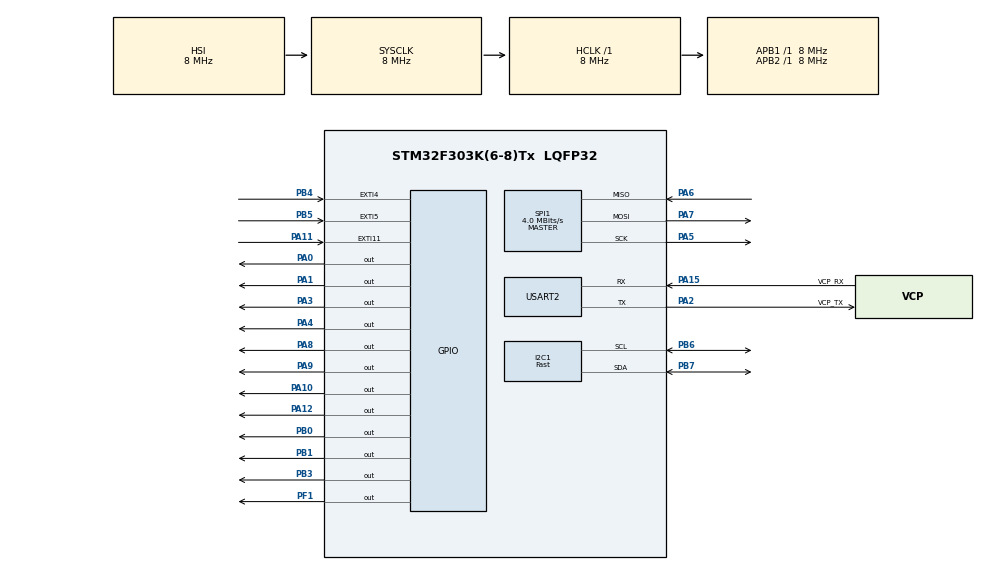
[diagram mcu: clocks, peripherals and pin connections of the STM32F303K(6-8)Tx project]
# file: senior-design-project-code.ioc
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FATFS._USE_LFN=2
I2C1.I2C_Speed_Mode=I2C_Fast
I2C1.Speed=400
I2C1.Timing=0x0000020B
Mcu.Family=STM32F3
Mcu.Name=STM32F303K(6-8)Tx
Mcu.Package=LQFP32
NVIC.EXTI15_10_IRQn=true\:15\:0\:true\:false\:true\:true\:true\:true
NVIC.EXTI4_IRQn=true\:13\:0\:true\:false\:true\:true\:true\:true
NVIC.EXTI9_5_IRQn=true\:14\:0\:true\:false\:true\:true\:true\:true
NVIC.PriorityGroup=NVIC_PRIORITYGROUP_4
PA0.Signal=GPIO_Output
PA1.Signal=GPIO_Output
PA10.Signal=GPIO_Output
PA11.GPIO_ModeDefaultEXTI=GPIO_MODE_IT_FALLING
PA11.Signal=GPXTI11
PA12.Signal=GPIO_Output
PA13.GPIO_Label=SWDIO
PA13.Mode=Serial_Wire
PA13.Signal=SYS_JTMS-SWDIO
PA14.GPIO_Label=SWCLK
PA14.Mode=Serial_Wire
PA14.Signal=SYS_JTCK-SWCLK
PA15.GPIO_Label=VCP_RX
PA15.Mode=Asynchronous
PA15.Signal=USART2_RX
PA2.GPIO_Label=VCP_TX
PA2.Mode=Asynchronous
PA2.Signal=USART2_TX
PA3.Signal=GPIO_Output
PA4.Signal=GPIO_Output
PA5.Mode=Full_Duplex_Master
PA5.Signal=SPI1_SCK
PA6.Mode=Full_Duplex_Master
PA6.Signal=SPI1_MISO
PA7.Mode=Full_Duplex_Master
PA7.Signal=SPI1_MOSI
PA8.Signal=GPIO_Output
PA9.Signal=GPIO_Output
PB0.Signal=GPIO_Output
PB1.Signal=GPIO_Output
PB3.Signal=GPIO_Output
PB4.GPIO_ModeDefaultEXTI=GPIO_MODE_IT_FALLING
PB4.Signal=GPXTI4
PB5.GPIO_ModeDefaultEXTI=GPIO_MODE_IT_FALLING
PB5.Signal=GPXTI5
PB6.GPIO_Pu=GPIO_NOPULL
PB6.Mode=I2C
PB6.Signal=I2C1_SCL
PB7.Mode=I2C
PB7.Signal=I2C1_SDA
PF0\ /\ OSC_IN.GPIO_Label=MCO
PF0\ /\ OSC_IN.Mode=HSE-External-Clock-Source
PF0\ /\ OSC_IN.Signal=RCC_OSC_IN
PF1\ /\ OSC_OUT.Signal=GPIO_Output
ProjectManager.HeapSize=0x200
ProjectManager.StackSize=0x400
ProjectManager.TargetToolchain=STM32CubeIDE
RCC.AHBFreq_Value=8000000
RCC.APB1Freq_Value=8000000
RCC.APB2Freq_Value=8000000
RCC.CortexFreq_Value=8000000
RCC.HSE_VALUE=8000000
RCC.HSI_VALUE=8000000
RCC.SYSCLKFreq_VALUE=8000000
SPI1.BaudRatePrescaler=SPI_BAUDRATEPRESCALER_2
SPI1.CLKPhase=SPI_PHASE_1EDGE
SPI1.CalculateBaudRate=4.0 MBits/s
SPI1.DataSize=SPI_DATASIZE_8BIT
SPI1.Direction=SPI_DIRECTION_2LINES
SPI1.Mode=SPI_MODE_MASTER
SPI1.NSSPMode=SPI_NSS_PULSE_DISABLE
SPI1.VirtualType=VM_MASTER
USART2.VirtualMode-Asynchronous=VM_ASYNC
VP_FATFS_VS_Generic.Mode=User_defined
board=NUCLEO-F303K8

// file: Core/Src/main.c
/* USER CODE BEGIN Header */
/**
 ******************************************************************************
 * @file           : main.c
 * @brief          : Main program body
 ******************************************************************************
 * @attention
 *
 * <h2><center>&copy; Copyright (c) 2021 STMicroelectronics.
 * All rights reserved.</center></h2>
 *
 * This software component is licensed by ST under BSD 3-Clause license,
 * the "License"; You may not use this file except in compliance with the
 * License. You may obtain a copy of the License at:
 *                        opensource.org/licenses/BSD-3-Clause
 *
 ******************************************************************************
 */
/* USER CODE END Header */
#include "main.h"
#include "fatfs.h"
#include "i2c.h"
#include "spi.h"
#include "usart.h"
#include "gpio.h"

/* USER CODE BEGIN Includes */
#include <stdio.h>
#include <string.h>

#include "sparkfun_as7265x.h"
#include "user_lcd.h"
/* USER CODE END Includes */

/* USER CODE BEGIN PD */
#ifndef SENSOR_DATA_LENGTH
#define SENSOR_DATA_LENGTH 18
#endif

#ifndef FOLDER_NAME
#define FOLDER_NAME "capstone-project"
#endif
/* USER CODE END PD */

/* USER CODE BEGIN PV */
volatile uint16_t flags = 0;

const uint8_t sensor_grid[6] = {
		AS7265X_R_G_A_CAL,
		AS7265X_S_H_B_CAL,
		AS7265X_T_I_C_CAL,
		AS7265X_U_J_D_CAL,
		AS7265X_V_K_E_CAL,
		AS7265X_W_L_F_CAL};

const uint8_t spectra[3] = {
		AS72653_UV,
		AS72652_VISIBLE,
		AS72651_NIR};

const uint8_t bulb[3] = {
		AS7265x_LED_UV,
		AS7265x_LED_WHITE,
		AS7265x_LED_IR};
/* USER CODE END PV */

void SystemClock_Config(void);
/* USER CODE BEGIN PFP */
/* Gather data from sensor array and store it into buffer */
void get_data_bins(float *float_array, I2C_HandleTypeDef *hi2c);

/* Normalize a set of data */
void normalize_data(float *data, float *normal_data, float normal_max,
		float normal_min);

/* Write data to SD card */
void store_data(float *data, const char *filename);

/* Append data to file */
FRESULT open_append(FIL* fp, const char* path);

/* Write data into a format for displaying on the LCD */
void set_display_data(float *data, uint8_t *display_data);

/* USER CODE END PFP */

int main(void)
{
	/* USER CODE BEGIN 1 */
	uint8_t i;
	uint8_t j;

	HAL_StatusTypeDef hal_status;

	uint8_t display_data[8] = {0};

	float sample_data[SENSOR_DATA_LENGTH] = {0};
	float calibration_data[SENSOR_DATA_LENGTH] = {0};
	float normal_data[SENSOR_DATA_LENGTH] = {0};
	/* USER CODE END 1 */

	/* MCU Configuration--------------------------------------------------------*/

	/* Reset of all peripherals, Initializes the Flash interface and the Systick. */
	HAL_Init();

	/* USER CODE BEGIN Init */
	HAL_Delay(690); // give the peripherals time to power on

	/* USER CODE END Init */

	/* Configure the system clock */
	SystemClock_Config();

	/* Initialize all configured peripherals */
	MX_GPIO_Init();
	MX_SPI1_Init();
	MX_I2C1_Init();
	MX_USART2_UART_Init();
	MX_FATFS_Init();
	/* USER CODE BEGIN 2 */
	begin(&hi2c1, &huart2);
	lcd_init();

	/* Setting custom characters for readout */
	for ( i = 0; i < 8; i++) {
		lcd_set_cgram_address((7 - i));
		for (j = 0; j < i; j++)
			lcd_write_data(0x00);
		for(j = i; j < CHAR_HEIGHT; j++)
			lcd_write_data(0xff);
	}
	lcd_set_ddram_address(0);

	/* USER CODE END 2 */

	/* Infinite loop */
	/* USER CODE BEGIN WHILE */
	while (1)
	{
		flags = 0;

		HAL_Delay(1); // Needed to prevent compiler from assuming flags defaults to 0

		switch(flags) {
		case (GPIO_PIN_4): { // Get sample data and normalize it
			uart_printf(&huart2, "Getting sample data...\r\n");

			/* Gather sample data */
			get_data_bins(sample_data, &hi2c1);

			/* Normalize the data */
			normalize_data(sample_data, normal_data, 1, 0);

			HAL_Delay(10);

			/* Print out each calibrated sample value to UART */
			for (i = 0; i < SENSOR_DATA_LENGTH; i++) {
				hal_status = uart_printf(&huart2, "%d nm: %0.3f\r\n", 410 + 25 * i,
						sample_data[i]);

				HAL_Delay(10);

				if (hal_status != HAL_OK)
					break;
			};

			for (i = 0; i < 8; i++) {
				hal_status = uart_printf(&huart2, "Sample %u: %u\r\n",i,
						display_data[i]);

				HAL_Delay(10);

				if (hal_status != HAL_OK)
					break;
			};
			set_display_data(normal_data, display_data);
			lcd_display(display_data, 8);
			continue;
		}
		case (GPIO_PIN_5): {
			/* Gather calibration data from sensor */
			uart_printf(&huart2, "Getting calibration data...\r\n");

			/* Gather sample data */
			get_data_bins(calibration_data, &hi2c1);

			HAL_Delay(10);

			/* Print out each calibrated sample value to UART */
			for (i = 0; i < SENSOR_DATA_LENGTH; i++) {
				hal_status = uart_printf(&huart2, "%d nm: %0.3f\r\n", 410 + 25 * i,
						calibration_data[i]);

				HAL_Delay(10);

				if (hal_status != HAL_OK)
					break;
			};
			continue;
		}
		case (GPIO_PIN_11): {
			HAL_Delay(100);
			store_data(sample_data, FOLDER_NAME"/samples.csv");
			store_data(calibration_data, FOLDER_NAME"/calibration.csv");
			store_data(normal_data, FOLDER_NAME"/normal.csv");
			continue;
		}
		default: continue;
		}

		/* USER CODE END WHILE */

	}
}

void SystemClock_Config(void)
{
	RCC_OscInitTypeDef RCC_OscInitStruct = {0};
	RCC_ClkInitTypeDef RCC_ClkInitStruct = {0};
	RCC_PeriphCLKInitTypeDef PeriphClkInit = {0};

	/** Initializes the RCC Oscillators according to the specified parameters
	 * in the RCC_OscInitTypeDef structure.
	 */
	RCC_OscInitStruct.OscillatorType = RCC_OSCILLATORTYPE_HSI;
	RCC_OscInitStruct.HSIState = RCC_HSI_ON;
	RCC_OscInitStruct.HSICalibrationValue = RCC_HSICALIBRATION_DEFAULT;
	RCC_OscInitStruct.PLL.PLLState = RCC_PLL_NONE;
	if (HAL_RCC_OscConfig(&RCC_OscInitStruct) != HAL_OK)
	{
		Error_Handler();
	}

	/** Initializes the CPU, AHB and APB buses clocks
	 */
	RCC_ClkInitStruct.ClockType = RCC_CLOCKTYPE_HCLK|RCC_CLOCKTYPE_SYSCLK
			|RCC_CLOCKTYPE_PCLK1|RCC_CLOCKTYPE_PCLK2;
	RCC_ClkInitStruct.SYSCLKSource = RCC_SYSCLKSOURCE_HSI;
	RCC_ClkInitStruct.AHBCLKDivider = RCC_SYSCLK_DIV1;
	RCC_ClkInitStruct.APB1CLKDivider = RCC_HCLK_DIV1;
	RCC_ClkInitStruct.APB2CLKDivider = RCC_HCLK_DIV1;

	if (HAL_RCC_ClockConfig(&RCC_ClkInitStruct, FLASH_LATENCY_0) != HAL_OK)
	{
		Error_Handler();
	}
	PeriphClkInit.PeriphClockSelection = RCC_PERIPHCLK_I2C1;
	PeriphClkInit.I2c1ClockSelection = RCC_I2C1CLKSOURCE_HSI;
	if (HAL_RCCEx_PeriphCLKConfig(&PeriphClkInit) != HAL_OK)
	{
		Error_Handler();
	}
}

/* USER CODE BEGIN 4 */
/* Print to serial port */
HAL_StatusTypeDef uart_printf(UART_HandleTypeDef *huart, const char *fmt, ...)
{

	static char buffer[256];
	va_list args;
	HAL_StatusTypeDef ret;

	va_start(args, fmt);
	vsnprintf(buffer, sizeof(buffer), fmt, args);
	va_end(args);

	int len = strlen(buffer);
	ret = HAL_UART_Transmit(huart, (uint8_t *)buffer, len, HAL_MAX_DELAY);

	return ret;
}

/* Gather data from sensor array and store it into buffer */
void get_data_bins(float *float_array, I2C_HandleTypeDef *hi2c)
{
	disableIndicator(hi2c);
	HAL_Delay(5);
	takeMeasurementsWithBulb(hi2c); //This is a hard wait while all 18 channels are measured

	//enableBulb(AS7265x_LED_UV, hi2c);
	float_array[0] = getCalibratedA(hi2c);
	float_array[1] = getCalibratedB(hi2c);
	float_array[2] = getCalibratedC(hi2c);
	float_array[3] = getCalibratedD(hi2c);
	float_array[4] = getCalibratedE(hi2c);
	float_array[5] = getCalibratedF(hi2c);
	//disableBulb(AS7265x_LED_UV, hi2c);

	//enableBulb(AS7265x_LED_WHITE, hi2c);
	float_array[6] = getCalibratedG(hi2c);
	float_array[7] = getCalibratedH(hi2c);
	float_array[8] = getCalibratedR(hi2c);
	float_array[9] = getCalibratedI(hi2c);
	float_array[10] = getCalibratedS(hi2c);
	float_array[11] = getCalibratedJ(hi2c);
	//disableBulb(AS7265x_LED_WHITE, hi2c);

	//enableBulb(AS7265x_LED_IR, hi2c);
	float_array[12] = getCalibratedT(hi2c);
	float_array[13] = getCalibratedU(hi2c);
	float_array[14] = getCalibratedV(hi2c);
	float_array[15] = getCalibratedW(hi2c);
	float_array[16] = getCalibratedK(hi2c);
	float_array[17] = getCalibratedL(hi2c);
	//disableBulb(AS7265x_LED_IR, hi2c);

	enableIndicator(hi2c);
}

/* Normalize a set of data */
void normalize_data(float *data, float *normal_data, float normal_max,
		float normal_min)
{
	uint8_t i;
	float data_max;

	data_max = data[0];

	for (i = 1; i < SENSOR_DATA_LENGTH; i++) {
		data_max = (data_max > data[i]) ? data_max : data[i];
	}

	for (i = 0; i < SENSOR_DATA_LENGTH; i++) {
		normal_data[i] = (normal_max - normal_min) * (data[i] / data_max) \
				+ normal_min;
	}
}

/* Write data to SD card */
void store_data(float *data, const char *filename)
{
	uint8_t i;
	FATFS fatfs;
	FIL fil;
	FRESULT fres; //Result after operations
	UINT write_res;

	write_res = 0;

	char float_str[128];

	//Open the file system
	fres = f_mount(&fatfs, "", 1); //1=mount now
	if (fres != FR_OK) {
		uart_printf(&huart2, "f_mount error (%i)\r\n", fres);
		return;
	}

	fres = f_stat("0:/"FOLDER_NAME, NULL);
	if (fres == FR_NO_FILE) {
		uart_printf(&huart2, "Attempting to create directory %s...\r\n", FOLDER_NAME);
		fres = f_mkdir("0:/"FOLDER_NAME);
		if (fres != FR_OK) {
			uart_printf(&huart2, "Error creating directory %s\r\n", FOLDER_NAME);
			return;
		}
	}

	uart_printf(&huart2, "Attempting to write data to %s...\r\n", filename);

	for (i = 0; i < SENSOR_DATA_LENGTH - 1; i++) {
		fres = open_append(&fil, filename);
		if (fres == FR_OK) {
			sprintf(float_str, "%f,", data[i]);
			uart_printf(&huart2, "Writing value %s to %s\r\n", float_str, filename);
			f_write(&fil, float_str, (UINT)strlen(float_str), &write_res);
		} else {
			uart_printf(&huart2, "Error writing data unit %u to %s\r\n", i, filename);
			return;
		}
		f_close(&fil);
	}

	fres = open_append(&fil, filename);
	if (fres == FR_OK) {
		sprintf(float_str, "%f", data[SENSOR_DATA_LENGTH]);
		uart_printf(&huart2, "Writing value %s to %s\r\n", float_str, filename);
		f_write(&fil, float_str, (UINT)strlen(float_str), &write_res);
	} else {
		uart_printf(&huart2, "Error writing data unit %u to %s\r\n", SENSOR_DATA_LENGTH - 1, filename);
		return;
	}
	f_close(&fil);

	fres = open_append(&fil, filename);
	if (fres == FR_OK) {
		f_printf(&fil, "\n");
	} else {
		uart_printf(&huart2, "Error opening %s\r\n", filename);
		return;
	}

	fres = f_close(&fil);
	if (fres != FR_OK)
		uart_printf(&huart2, "Error closing %s\r\n", filename);
	else
		uart_printf(&huart2, "Successfully wrote to %s\r\n", filename);

	f_mount(NULL, "", 0);
	HAL_Delay(100);
}

/* Append data to file */
FRESULT open_append(FIL* fp, const char* path)
{
	FRESULT fr;

	/* Opens an existing file. If not exist, creates a new file. */
	fr = f_open(fp, path, FA_WRITE | FA_OPEN_ALWAYS);
	if (fr == FR_OK) {
		/* Seek to end of the file to append data */
		fr = f_lseek(fp, f_size(fp));
		if (fr != FR_OK)
			f_close(fp);
	}
	return fr;
}

/* Write data into a format for displaying on the LCD */
void set_display_data(float *data, uint8_t *display_data)
{
	uint8_t i;
	uint8_t j;

	float tmp;
	float data_max;
	float tmp_array[8] = {0};

	// get average over floating 4-value window
	for (i = 0; i < 8; i++) {
		tmp = 0;
		for (j = 0; j < 4; j++)
			tmp += data[2*i + j];
		tmp_array[i] = tmp / 4;
	}

	// Calculate maximum of averaged data
	for (i = 0; i < 8; i++) {
		data_max = (data_max > tmp_array[i]) ? data_max : tmp_array[i];
	}

	// Normalize display data
	if (data_max == 0) {
		for (i = 0; i < 8; i++) {
			display_data[i] = 0;
		}
	} else {
		for (i = 0; i < 8; i++) {
			tmp = 8 * tmp_array[i] / data_max;
			if ((tmp < 1) && (tmp > 0))
				display_data[i] = (uint8_t)(tmp + 1);
			else
				display_data[i] = (uint8_t)tmp;
		}
	}
}
/* USER CODE END 4 */

void Error_Handler(void)
{
	__disable_irq();
	while (1)
	{
	}
}
